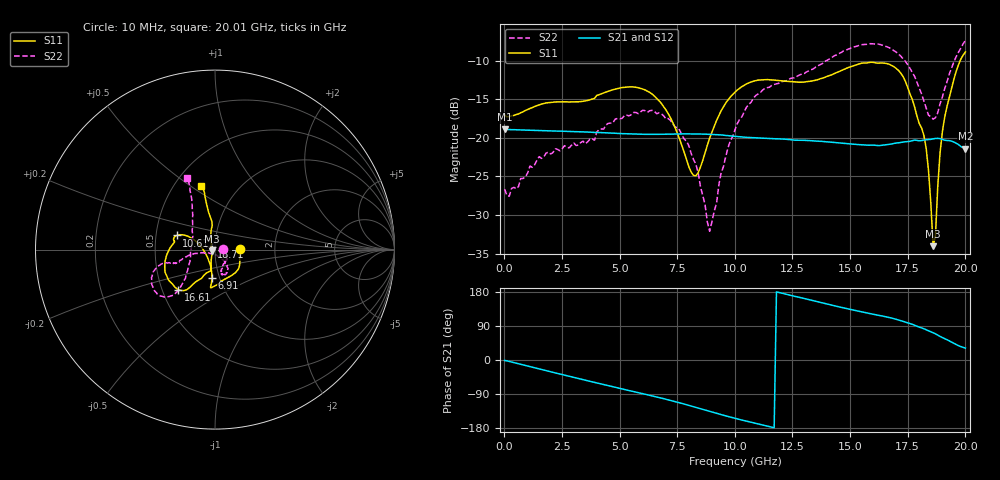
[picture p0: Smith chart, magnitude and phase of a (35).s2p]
! Hittite Microwave Corporation
! 2 Elizabeth Drive
! Chelmsford, MA 01824
! http://www.hittite.com
! Tel: 978-250-3343
! Fax: 978-250-3373
! Device:  HMC424LP3
! Description: 0.5 dB GaAs MMIC 6-Bit Digital Attenuator
! Frequency:  DC -  13.00 GHz
! Package:  LP3  - 3x3 mm Quad Flatpack No-Lead (QFN) Plastic Package: 16 pin
! Ports:  2 RF, 7 DC
!  Pad  1  = Ground
!  Pad  2  = RF IN  = Port 1
!  Pad  3  = Ground
!  Pad  4  = V6
!  Pad  5  = V5
!  Pad  6  = V4
!  Pad  7  = V3
!  Pad  8  = V2
!  Pad  9  = V1
!  Pad 10  = Ground
!  Pad 11  = RF OUT  = Port 2
!  Pad 12  = Ground
!  Pad 15  = VEE
! Control:  -5 Volt control voltage
! State:  33
! Attenuation:  16.5 dB
! Voltages:  Vdd = -5.00 Volts  Idd =  -2.273 mA
!  V1  = -5.00 Volts  I1  =  -1.0 uA
!  V2  = 0.00 Volts  I2  =  29.0 uA
!  V3  = 0.00 Volts  I3  =  29.0 uA
!  V4  = 0.00 Volts  I4  =  30.0 uA
!  V5  = 0.00 Volts  I5  =  29.0 uA
!  V6  = -5.00 Volts  I6  =  -1.0 uA
! Data:  The device was measured on evaluation board 105354-1.
!  Data was collected using a calibrated network analyzer.
!  The evaluation circuit board was modeled and simulated.  This was use
!  to removed the evaluation board circuit from the measured data.
!  The reference plane is the edge of the package pin.
! Misc:  Lot xxxx, Unit 1
!  Application 20120001, Data collected in Application 20090083
! Date Measured:  2009-09-15
! Date:  2012-05-14  MJV
! Note:
!  Hittite supplies this data as a sample of measured data at the package pin
!  for this product.  Your particular data for this product may vary.
!  Data was taken at 25 degrees C.
!  Hittite reserves the right to change this data at anytime.
# GHz S MA R 50
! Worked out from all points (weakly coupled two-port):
!   201 points, 10 MHz to 20.01 GHz, reference 50 ohm
!   highest |S21| = -18.88 dB at 10 MHz (marker M1); lowest = -21.4 dB at 20.01 GHz (marker M2)
!   lowest |S11| = -34.0 dB at 18.61 GHz (marker M3), VSWR 1.04, Z = 48.3 - j0.941 ohm
!   |S11| at or under -10 dB: start of sweep to 19.78 GHz
!   |S22| runs from -32.1 to -7.4 dB; largest |S21 - S12| = 0.00073
!   S11 on the Smith chart (normalised r, x): 10 MHz: 1.33, +0.01; 6.91 GHz: 0.92, -0.30; 10.61 GHz: 0.64, +0.11; 16.61 GHz: 0.60, -0.30; 18.71 GHz: 0.96, +0.02; 20.01 GHz: 0.68, +0.55
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0.01  0.1409 1.5  0.1138 -1.1  0.1143 -1.4  0.0465 7.2
3.41  0.1726 -68.9  0.1093 -51.8  0.1092 -51.8  0.09521 -54.4
5.51  0.2143 -96.2  0.106 -82.0  0.1059 -82.0  0.1414 -74.9
6.71  0.1741 -95.9  0.1055 -99.0  0.1053 -99.0  0.1452 -63.7
6.91  0.1597 -96.0  0.1055 -102.0  0.1054 -102.0  0.1392 -59.4
8.21  0.05712 -145.3  0.1061 -123.2  0.1058 -123.1  0.07238 -52.4
8.91  0.09975 160.5  0.1055 -135.4  0.1053 -135.4  0.02479 -106.8
9.41  0.1501 153.8  0.1045 -144.2  0.1042 -144.2  0.05931 -159.8
10.01  0.1978 155.4  0.1024 -153.9  0.1023 -153.9  0.1129 -169.0
10.61  0.2273 159.7  0.1006 -162.8  0.1005 -162.8  0.1649 -165.6
13.41  0.2348 171.9  0.09559 156.3  0.09535 156.3  0.2799 -164.8
15.11  0.2917 -163.4  0.09093 132.2  0.09084 132.2  0.3866 -156.2
16.61  0.303 -132.6  0.09035 113.4  0.09029 113.4  0.3895 -137.6
16.71  0.3001 -131.0  0.09076 112.0  0.09056 112.1  0.3836 -136.3
17.31  0.249 -123.5  0.09381 101.9  0.09369 102.0  0.3251 -132.1
18.21  0.1036 -102.1  0.09675 82.5  0.09667 82.5  0.1728 -148.5
18.41  0.06122 -110.2  0.09753 77.1  0.09737 77.2  0.1403 -165.8
18.61  0.01984 -150.6  0.09853 72.1  0.09837 72.1  0.1324 173.1
18.71  0.02306 147.2  0.09915 69.1  0.09907 69.1  0.135 161.8
18.91  0.07987 107.3  0.09886 62.2  0.09872 62.2  0.1662 140.0
19.11  0.1358 96.5  0.09662 56.3  0.0963 56.3  0.2079 127.2
20.01  0.3608 102.3  0.08509 31.3  0.08495 31.3  0.4282 111.2
